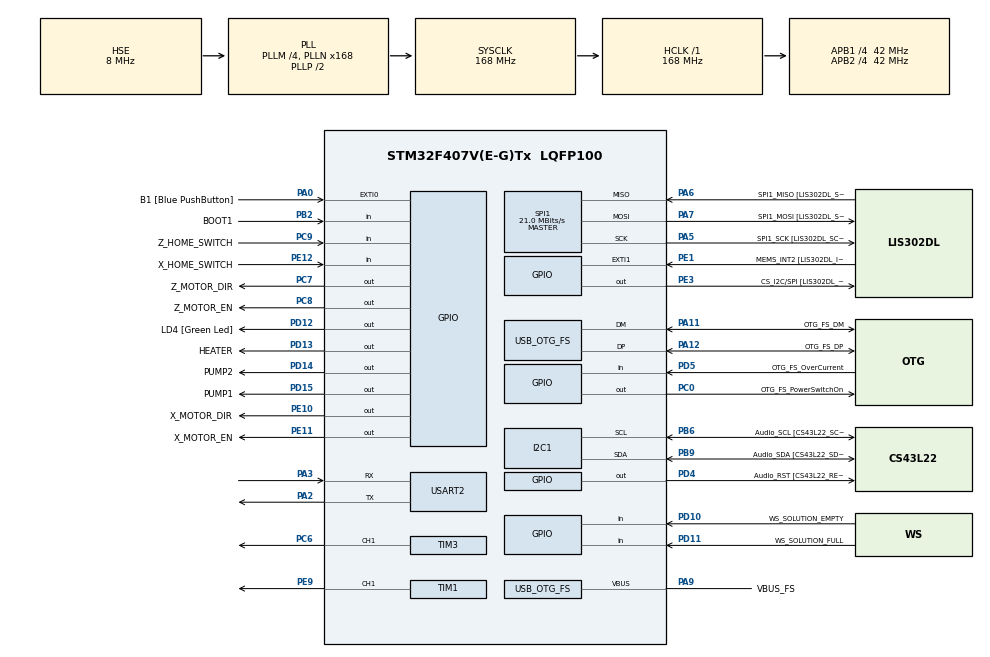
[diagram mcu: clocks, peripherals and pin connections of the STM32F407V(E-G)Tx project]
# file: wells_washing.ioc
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Dma.Request0=USART2_TX
Dma.Request1=USART2_RX
Dma.Request2=TIM1_CH1
Dma.TIM1_CH1.2.Direction=DMA_PERIPH_TO_MEMORY
Dma.TIM1_CH1.2.FIFOMode=DMA_FIFOMODE_DISABLE
Dma.TIM1_CH1.2.Instance=DMA2_Stream1
Dma.TIM1_CH1.2.MemDataAlignment=DMA_MDATAALIGN_HALFWORD
Dma.TIM1_CH1.2.MemInc=DMA_MINC_ENABLE
Dma.TIM1_CH1.2.Mode=DMA_NORMAL
Dma.TIM1_CH1.2.PeriphDataAlignment=DMA_PDATAALIGN_HALFWORD
Dma.TIM1_CH1.2.PeriphInc=DMA_PINC_DISABLE
Dma.TIM1_CH1.2.Priority=DMA_PRIORITY_LOW
Dma.USART2_RX.1.Direction=DMA_PERIPH_TO_MEMORY
Dma.USART2_RX.1.FIFOMode=DMA_FIFOMODE_DISABLE
Dma.USART2_RX.1.Instance=DMA1_Stream5
Dma.USART2_RX.1.MemDataAlignment=DMA_MDATAALIGN_BYTE
Dma.USART2_RX.1.MemInc=DMA_MINC_ENABLE
Dma.USART2_RX.1.Mode=DMA_NORMAL
Dma.USART2_RX.1.PeriphDataAlignment=DMA_PDATAALIGN_BYTE
Dma.USART2_RX.1.PeriphInc=DMA_PINC_DISABLE
Dma.USART2_RX.1.Priority=DMA_PRIORITY_LOW
Dma.USART2_TX.0.Direction=DMA_MEMORY_TO_PERIPH
Dma.USART2_TX.0.FIFOMode=DMA_FIFOMODE_DISABLE
Dma.USART2_TX.0.Instance=DMA1_Stream6
Dma.USART2_TX.0.MemDataAlignment=DMA_MDATAALIGN_BYTE
Dma.USART2_TX.0.MemInc=DMA_MINC_ENABLE
Dma.USART2_TX.0.Mode=DMA_NORMAL
Dma.USART2_TX.0.PeriphDataAlignment=DMA_PDATAALIGN_BYTE
Dma.USART2_TX.0.PeriphInc=DMA_PINC_DISABLE
Dma.USART2_TX.0.Priority=DMA_PRIORITY_LOW
Mcu.Family=STM32F4
Mcu.Name=STM32F407V(E-G)Tx
Mcu.Package=LQFP100
NVIC.DMA1_Stream5_IRQn=true\:0\:0\:false\:false\:true\:false\:true\:true
NVIC.DMA1_Stream6_IRQn=true\:0\:0\:false\:false\:true\:false\:true\:true
NVIC.DMA2_Stream1_IRQn=true\:0\:0\:false\:false\:true\:false\:true\:true
NVIC.OTG_FS_IRQn=true\:0\:0\:false\:false\:true\:true\:true\:true
NVIC.PriorityGroup=NVIC_PRIORITYGROUP_0
NVIC.TIM2_IRQn=true\:0\:0\:false\:false\:true\:true\:true\:true
NVIC.TIM5_IRQn=true\:0\:0\:false\:false\:true\:true\:true\:true
NVIC.USART2_IRQn=true\:0\:0\:false\:false\:true\:true\:true\:true
PA0-WKUP.GPIO_Label=B1 [Blue PushButton]
PA0-WKUP.GPIO_ModeDefaultEXTI=GPIO_MODE_EVT_RISING
PA0-WKUP.GPIO_PuPd=GPIO_NOPULL
PA0-WKUP.Signal=GPXTI0
PA10.GPIO_Label=OTG_FS_ID
PA10.GPIO_Mode=GPIO_MODE_AF_PP
PA10.GPIO_PuPd=GPIO_NOPULL
PA10.GPIO_Speed=GPIO_SPEED_FREQ_LOW
PA10.Signal=USB_OTG_FS_ID
PA11.GPIO_Label=OTG_FS_DM
PA11.GPIO_Mode=GPIO_MODE_AF_PP
PA11.GPIO_PuPd=GPIO_NOPULL
PA11.GPIO_Speed=GPIO_SPEED_FREQ_LOW
PA11.Mode=Device_Only
PA11.Signal=USB_OTG_FS_DM
PA12.GPIO_Label=OTG_FS_DP
PA12.GPIO_Mode=GPIO_MODE_AF_PP
PA12.GPIO_PuPd=GPIO_NOPULL
PA12.GPIO_Speed=GPIO_SPEED_FREQ_LOW
PA12.Mode=Device_Only
PA12.Signal=USB_OTG_FS_DP
PA13.GPIO_Label=SWDIO
PA13.Mode=Serial_Wire
PA13.Signal=SYS_JTMS-SWDIO
PA14.GPIO_Label=SWCLK
PA14.Mode=Serial_Wire
PA14.Signal=SYS_JTCK-SWCLK
PA2.GPIO_PuPd=GPIO_PULLUP
PA2.Mode=Asynchronous
PA2.Signal=USART2_TX
PA3.GPIO_PuPd=GPIO_PULLUP
PA3.Mode=Asynchronous
PA3.Signal=USART2_RX
PA4.GPIO_Label=I2S3_WS [CS43L22_LRCK]
PA4.GPIO_Mode=GPIO_MODE_AF_PP
PA4.GPIO_PuPd=GPIO_NOPULL
PA4.GPIO_Speed=GPIO_SPEED_FREQ_LOW
PA4.Signal=I2S3_WS
PA5.GPIO_Label=SPI1_SCK [LIS302DL_SCL/SPC]
PA5.GPIO_Mode=GPIO_MODE_AF_PP
PA5.GPIO_PuPd=GPIO_NOPULL
PA5.GPIO_Speed=GPIO_SPEED_FREQ_LOW
PA5.Mode=Full_Duplex_Master
PA5.Signal=SPI1_SCK
PA6.GPIO_Label=SPI1_MISO [LIS302DL_SDO]
PA6.GPIO_Mode=GPIO_MODE_AF_PP
PA6.GPIO_PuPd=GPIO_NOPULL
PA6.GPIO_Speed=GPIO_SPEED_FREQ_LOW
PA6.Mode=Full_Duplex_Master
PA6.Signal=SPI1_MISO
PA7.GPIO_Label=SPI1_MOSI [LIS302DL_SDA/SDI/SDO]
PA7.GPIO_Mode=GPIO_MODE_AF_PP
PA7.GPIO_PuPd=GPIO_NOPULL
PA7.GPIO_Speed=GPIO_SPEED_FREQ_LOW
PA7.Mode=Full_Duplex_Master
PA7.Signal=SPI1_MOSI
PA9.GPIO_Label=VBUS_FS
PA9.GPIO_Mode=GPIO_MODE_INPUT
PA9.GPIO_PuPd=GPIO_NOPULL
PA9.Mode=Activate_VBUS
PA9.Signal=USB_OTG_FS_VBUS
PB10.GPIO_Label=CLK_IN [MP45DT02_CLK]
PB10.GPIO_Mode=GPIO_MODE_AF_PP
PB10.GPIO_PuPd=GPIO_NOPULL
PB10.GPIO_Speed=GPIO_SPEED_FREQ_LOW
PB10.Signal=I2S2_CK
PB2.GPIO_Label=BOOT1
PB2.GPIO_Mode=GPIO_MODE_INPUT
PB2.GPIO_PuPd=GPIO_NOPULL
PB2.Signal=GPIO_Input
PB3.GPIO_Label=SWO
PB3.Signal=SYS_JTDO-SWO
PB6.GPIO_Label=Audio_SCL [CS43L22_SCL]
PB6.GPIO_Mode=GPIO_MODE_AF_OD
PB6.GPIO_Pu=GPIO_PULLUP
PB6.GPIO_PuPd=GPIO_NOPULL
PB6.GPIO_Speed=GPIO_SPEED_FREQ_LOW
PB6.Mode=I2C
PB6.Signal=I2C1_SCL
PB9.GPIO_Label=Audio_SDA [CS43L22_SDA]
PB9.GPIO_Mode=GPIO_MODE_AF_OD
PB9.GPIO_Pu=GPIO_PULLUP
PB9.GPIO_PuPd=GPIO_NOPULL
PB9.GPIO_Speed=GPIO_SPEED_FREQ_LOW
PB9.Mode=I2C
PB9.Signal=I2C1_SDA
PC0.GPIO_Label=OTG_FS_PowerSwitchOn
PC0.GPIO_PuPd=GPIO_NOPULL
PC0.GPIO_Speed=GPIO_SPEED_FREQ_LOW
PC0.PinState=GPIO_PIN_SET
PC0.Signal=GPIO_Output
PC10.GPIO_Label=I2S3_SCK [CS43L22_SCLK]
PC10.GPIO_Mode=GPIO_MODE_AF_PP
PC10.GPIO_PuPd=GPIO_NOPULL
PC10.GPIO_Speed=GPIO_SPEED_FREQ_LOW
PC10.Signal=I2S3_CK
PC12.GPIO_Label=I2S3_SD [CS43L22_SDIN]
PC12.GPIO_Mode=GPIO_MODE_AF_PP
PC12.GPIO_PuPd=GPIO_NOPULL
PC12.GPIO_Speed=GPIO_SPEED_FREQ_LOW
PC12.Signal=I2S3_SD
PC14-OSC32_IN.GPIO_Label=PC14-OSC32_IN
PC14-OSC32_IN.Mode=LSE-External-Oscillator
PC14-OSC32_IN.Signal=RCC_OSC32_IN
PC15-OSC32_OUT.GPIO_Label=PC15-OSC32_OUT
PC15-OSC32_OUT.Mode=LSE-External-Oscillator
PC15-OSC32_OUT.Signal=RCC_OSC32_OUT
PC3.GPIO_Label=PDM_OUT [MP45DT02_DOUT]
PC3.GPIO_Mode=GPIO_MODE_AF_PP
PC3.GPIO_PuPd=GPIO_NOPULL
PC3.GPIO_Speed=GPIO_SPEED_FREQ_LOW
PC3.Signal=I2S2_SD
PC6.GPIO_PuPd=GPIO_PULLUP
PC6.Signal=S_TIM3_CH1
PC7.GPIO_Label=Z_MOTOR_DIR
PC7.Signal=GPIO_Output
PC8.GPIO_Label=Z_MOTOR_EN
PC8.Signal=GPIO_Output
PC9.GPIO_Label=Z_HOME_SWITCH
PC9.GPIO_PuPd=GPIO_PULLUP
PC9.Signal=GPIO_Input
PD10.GPIO_Label=WS_SOLUTION_EMPTY
PD10.Signal=GPIO_Input
PD11.GPIO_Label=WS_SOLUTION_FULL
PD11.Signal=GPIO_Input
PD12.GPIO_Label=LD4 [Green Led]
PD12.GPIO_PuPd=GPIO_NOPULL
PD12.GPIO_Speed=GPIO_SPEED_FREQ_LOW
PD12.Signal=GPIO_Output
PD13.GPIO_Label=HEATER
PD13.GPIO_PuPd=GPIO_NOPULL
PD13.GPIO_Speed=GPIO_SPEED_FREQ_LOW
PD13.Signal=GPIO_Output
PD14.GPIO_Label=PUMP2
PD14.GPIO_PuPd=GPIO_NOPULL
PD14.GPIO_Speed=GPIO_SPEED_FREQ_LOW
PD14.Signal=GPIO_Output
PD15.GPIO_Label=PUMP1
PD15.GPIO_PuPd=GPIO_NOPULL
PD15.GPIO_Speed=GPIO_SPEED_FREQ_LOW
PD15.Signal=GPIO_Output
PD4.GPIO_Label=Audio_RST [CS43L22_RESET]
PD4.GPIO_PuPd=GPIO_NOPULL
PD4.GPIO_Speed=GPIO_SPEED_FREQ_LOW
PD4.Signal=GPIO_Output
PD5.GPIO_Label=OTG_FS_OverCurrent
PD5.GPIO_Mode=GPIO_MODE_INPUT
PD5.GPIO_PuPd=GPIO_NOPULL
PD5.Signal=GPIO_Input
PE1.GPIO_Label=MEMS_INT2 [LIS302DL_INT2]
PE1.GPIO_ModeDefaultEXTI=GPIO_MODE_EVT_RISING
PE1.GPIO_PuPd=GPIO_NOPULL
PE1.Signal=GPXTI1
PE10.GPIO_Label=X_MOTOR_DIR
PE10.Signal=GPIO_Output
PE11.GPIO_Label=X_MOTOR_EN
PE11.Signal=GPIO_Output
PE12.GPIO_Label=X_HOME_SWITCH
PE12.GPIO_PuPd=GPIO_PULLUP
PE12.Signal=GPIO_Input
PE3.GPIO_Label=CS_I2C/SPI [LIS302DL_CS_I2C/SPI]
PE3.GPIO_PuPd=GPIO_NOPULL
PE3.GPIO_Speed=GPIO_SPEED_FREQ_LOW
PE3.Signal=GPIO_Output
PE9.GPIO_PuPd=GPIO_PULLUP
PE9.GPIO_Speed=GPIO_SPEED_FREQ_VERY_HIGH
PE9.Signal=S_TIM1_CH1
PH0-OSC_IN.GPIO_Label=PH0-OSC_IN
PH0-OSC_IN.Mode=HSE-External-Oscillator
PH0-OSC_IN.Signal=RCC_OSC_IN
PH1-OSC_OUT.GPIO_Label=PH1-OSC_OUT
PH1-OSC_OUT.Mode=HSE-External-Oscillator
PH1-OSC_OUT.Signal=RCC_OSC_OUT
ProjectManager.HeapSize=0x4000
ProjectManager.StackSize=0x8000
ProjectManager.TargetToolchain=STM32CubeIDE
RCC.48MHZClocksFreq_Value=48000000
RCC.AHBFreq_Value=168000000
RCC.APB1CLKDivider=RCC_HCLK_DIV4
RCC.APB1Freq_Value=42000000
RCC.APB1TimFreq_Value=84000000
RCC.APB2CLKDivider=RCC_HCLK_DIV4
RCC.APB2Freq_Value=42000000
RCC.APB2TimFreq_Value=84000000
RCC.CortexFreq_Value=168000000
RCC.HCLKFreq_Value=168000000
RCC.HSE_VALUE=8000000
RCC.HSI_VALUE=16000000
RCC.PLLI2SN=50
RCC.PLLM=4
RCC.PLLN=168
RCC.PLLQ=7
RCC.SYSCLKFreq_VALUE=168000000
RCC.SYSCLKSource=RCC_SYSCLKSOURCE_PLLCLK
RCC.VCOOutputFreq_Value=336000000
SH.S_TIM1_CH1.0=TIM1_CH1,PWM Generation1 CH1
SH.S_TIM3_CH1.0=TIM3_CH1,PWM Generation1 CH1
SPI1.BaudRatePrescaler-Full_Duplex_Master=SPI_BAUDRATEPRESCALER_2
SPI1.CalculateBaudRate=21.0 MBits/s
SPI1.CalculateBaudRate-Full_Duplex_Master=42.0 MBits/s
SPI1.Direction=SPI_DIRECTION_2LINES
SPI1.Mode=SPI_MODE_MASTER
SPI1.Mode-Full_Duplex_Master=SPI_MODE_MASTER
SPI1.VirtualType=VM_MASTER
TIM1.Channel-PWM\ Generation1\ CH1=TIM_CHANNEL_1
TIM1.Period=999
TIM1.Prescaler=20
TIM1.Pulse-PWM\ Generation1\ CH1=499
TIM1.RepetitionCounter=199
TIM1.TIM_MasterOutputTrigger=TIM_TRGO_OC1REF
TIM1.TIM_MasterSlaveMode=TIM_MASTERSLAVEMODE_DISABLE
TIM3.Channel-PWM\ Generation1\ CH1=TIM_CHANNEL_1
TIM3.Period=999
TIM3.Prescaler=20
TIM3.Pulse-PWM\ Generation1\ CH1=499
TIM3.TIM_MasterOutputTrigger=TIM_TRGO_OC1REF
TIM8.Channel-PWM\ Generation3\ CH3=TIM_CHANNEL_3
USART2.VirtualMode=VM_ASYNC
USB_DEVICE.CLASS_NAME_FS=CDC
USB_DEVICE.VirtualMode-CDC_FS=Cdc
USB_DEVICE.VirtualModeFS=Cdc_FS
USB_OTG_FS.VirtualMode=Device_Only
VP_TIM1_VS_ClockSourceINT.Mode=Internal
VP_TIM2_VS_ClockSourceITR.Mode=TriggerSource_ITR0
VP_TIM2_VS_ControllerModeClock.Mode=Clock Mode
VP_TIM3_VS_ClockSourceINT.Mode=Internal
VP_TIM5_VS_ClockSourceITR.Mode=TriggerSource_ITR1
VP_TIM5_VS_ControllerModeClock.Mode=Clock Mode
VP_TIM8_VS_OPM.Mode=OPM_bit
VP_USB_DEVICE_VS_USB_DEVICE_CDC_FS.Mode=CDC_FS
board=STM32F407G-DISC1

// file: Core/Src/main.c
/* USER CODE BEGIN Header */
/**
  ******************************************************************************
  * @file           : main.c
  * @brief          : Main program body
  ******************************************************************************
  * @attention
  *
  * Copyright (c) 2023 STMicroelectronics.
  * All rights reserved.
  *
  * This software is licensed under terms that can be found in the LICENSE file
  * in the root directory of this software component.
  * If no LICENSE file comes with this software, it is provided AS-IS.
  *
  ******************************************************************************
  */
/* USER CODE END Header */
#include "main.h"
#include "usb_device.h"

/* USER CODE BEGIN Includes */
#include "define.h"
#include "data.h"
#include "uart.h"
#include "dw_display.h"
#include "motor.h"
#include  "usbd_cdc_if.h"
#include "program_process.h"
/* USER CODE END Includes */

I2C_HandleTypeDef hi2c1;

SPI_HandleTypeDef hspi1;

TIM_HandleTypeDef htim1;
TIM_HandleTypeDef htim2;
TIM_HandleTypeDef htim3;
TIM_HandleTypeDef htim5;
TIM_HandleTypeDef htim8;
DMA_HandleTypeDef hdma_tim1_ch1;

UART_HandleTypeDef huart2;
DMA_HandleTypeDef hdma_usart2_tx;
DMA_HandleTypeDef hdma_usart2_rx;

void SystemClock_Config(void);
static void MX_GPIO_Init(void);
static void MX_DMA_Init(void);
static void MX_I2C1_Init(void);
static void MX_SPI1_Init(void);
static void MX_USART2_UART_Init(void);
static void MX_TIM1_Init(void);
static void MX_TIM3_Init(void);
static void MX_TIM8_Init(void);
static void MX_TIM2_Init(void);
static void MX_TIM5_Init(void);
/* USER CODE BEGIN PFP */

typedef struct
{
	uint8_t size;
	uint8_t data[100];
}_debug_frame;
#define LOG_FRAME 100
_debug_frame debuglog[LOG_FRAME];
uint8_t debug_cnt = 0;
static uint8_t out_index = 0;
static uint8_t in_index = 0;
volatile uint8_t usb_transmitdone = 1;
void debug_process()
{

	if(debug_cnt && usb_transmitdone)
	{
		usb_transmitdone = 0;
		if(CDC_Transmit_FS(debuglog[out_index].data,debuglog[out_index].size)==USBD_OK)
		{
			out_index++;
			if(out_index == LOG_FRAME)
				out_index =0;
			debug_cnt--;
		}
	}
}

/* USER CODE END PFP */

/* USER CODE BEGIN 0 */
int _write(int file, char *ptr, int len)
{

	debuglog[in_index].size = len;
	memcpy(debuglog[in_index].data,ptr,len);
	debug_cnt++;
	if(debug_cnt>LOG_FRAME)
	{
		debug_cnt = LOG_FRAME;
	}
	in_index++;
	if(in_index == LOG_FRAME)
		in_index =0;
	return len;
}
uint8_t usercommand =0;
uint8_t times =0;
uint16_t cnt =0;
void HAL_TIM_PWM_PulseFinishedCallback(TIM_HandleTypeDef *htim)
{
	if(htim->Instance == htim1.Instance)
	{
		cnt++;
	}
}
void HAL_TIM_TriggerHalfCpltCallback(TIM_HandleTypeDef *htim)
{
	if(htim->Instance == htim1.Instance)
	{
		cnt++;
	}
}
/* USER CODE END 0 */

int main(void)
{

  /* MCU Configuration--------------------------------------------------------*/

  /* Reset of all peripherals, Initializes the Flash interface and the Systick. */
  HAL_Init();

  /* Configure the system clock */
  SystemClock_Config();

  /* Initialize all configured peripherals */
  MX_GPIO_Init();
  MX_DMA_Init();
  MX_I2C1_Init();
  MX_SPI1_Init();
  MX_USART2_UART_Init();
  MX_USB_DEVICE_Init();
  MX_TIM1_Init();
  MX_TIM3_Init();
  MX_TIM8_Init();
  MX_TIM2_Init();
  MX_TIM5_Init();
  /* USER CODE BEGIN 2 */
//  HAL_FLASH_Unlock();
//  __HAL_FLASH_CLEAR_FLAG(FLASH_FLAG_EOP | FLASH_FLAG_OPERR | FLASH_FLAG_WRPERR | FLASH_FLAG_PGAERR | FLASH_FLAG_PGSERR );
//  FLASH_Erase_Sector(FLASH_SECTOR_7, VOLTAGE_RANGE_3);
//  HAL_FLASH_Program(TYPEPROGRAM_WORD,0x08060000, 0x11223344);
//  HAL_FLASH_Lock();
  Dwin_init();
  dt_system_data_init();

//  HAL_TIM_Base_Start(&htim3);
  x_step_mt_int();
  z_step_mt_int();
#if !SIMULATOR_MOD
  z_motor_boot_start();
  x_motor_boot_start();
#else
  x_motor.home_achieve = 1;
  x_motor.is_home = 1;
  z_motor.home_achieve = 1;
  z_motor.is_home = 1;
#endif
  printf("code started \n");
  HAL_Delay(100);
  uart_dma_start();
  dwin_log_visiable(0);

  /* USER CODE END 2 */

  /* Infinite loop */
  /* USER CODE BEGIN WHILE */
  usercommand =1;
//    uint32_t ti;
  while (1)
  {
#if SIMULATOR_MOD    //enter download HMI FW
	  if(HAL_GPIO_ReadPin(B1_GPIO_Port, B1_Pin))
	  {
		  while(1){
			  HAL_GPIO_TogglePin(LD4_GPIO_Port, LD4_Pin);
			  HAL_Delay(50);
		  }
	  }
#endif
	  dwin_log_timeout();
	  debug_process();
//	  if(HAL_GetTick()> ti)
//	  {
//			char tmp[100];
//			int len = sprintf(tmp,"CURRENT_TIME :%lu",HAL_GetTick());
//			dwin_log_text(LOG_INFOR,tmp,len, 1000);
//			ti = HAL_GetTick() +2000;
//	  }
//	  step_shake_process();
	  pg_process_loop();
	  uart_process();
	  x_step_motor_process();
	  dw_update_steper_positon();
	  z_step_motor_process();
	  dw_update_steper_positon();
//	  switch (usercommand) {
//		case 1:
////			step_shake_start();
//			usercommand = 0;
//			break;
//		case 2:
//			HAL_TIM_PWM_Start(&htim3, TIM_CHANNEL_1);
//			usercommand = 0;
//			break;
//		case 3:
//			HAL_TIM_PWM_Stop(&htim3, TIM_CHANNEL_1);
//			usercommand = 0;
//			break;
//		case 4:
//			HAL_GPIO_TogglePin(Z_MOTOR_EN_GPIO_Port, Z_MOTOR_EN_Pin);
//			usercommand = 0;
//			break;
//		case 5:
//			HAL_TIM_PWM_Stop_IT(&htim1, TIM_CHANNEL_1);
//			usercommand = 0;
//			break;
//		default:
//			break;
//	}
    /* USER CODE END WHILE */

  }
}

void SystemClock_Config(void)
{
  RCC_OscInitTypeDef RCC_OscInitStruct = {0};
  RCC_ClkInitTypeDef RCC_ClkInitStruct = {0};

  /** Configure the main internal regulator output voltage
  */
  __HAL_RCC_PWR_CLK_ENABLE();
  __HAL_PWR_VOLTAGESCALING_CONFIG(PWR_REGULATOR_VOLTAGE_SCALE1);

  /** Initializes the RCC Oscillators according to the specified parameters
  * in the RCC_OscInitTypeDef structure.
  */
  RCC_OscInitStruct.OscillatorType = RCC_OSCILLATORTYPE_HSE;
  RCC_OscInitStruct.HSEState = RCC_HSE_ON;
  RCC_OscInitStruct.PLL.PLLState = RCC_PLL_ON;
  RCC_OscInitStruct.PLL.PLLSource = RCC_PLLSOURCE_HSE;
  RCC_OscInitStruct.PLL.PLLM = 4;
  RCC_OscInitStruct.PLL.PLLN = 168;
  RCC_OscInitStruct.PLL.PLLP = RCC_PLLP_DIV2;
  RCC_OscInitStruct.PLL.PLLQ = 7;
  if (HAL_RCC_OscConfig(&RCC_OscInitStruct) != HAL_OK)
  {
    Error_Handler();
  }

  /** Initializes the CPU, AHB and APB buses clocks
  */
  RCC_ClkInitStruct.ClockType = RCC_CLOCKTYPE_HCLK|RCC_CLOCKTYPE_SYSCLK
                              |RCC_CLOCKTYPE_PCLK1|RCC_CLOCKTYPE_PCLK2;
  RCC_ClkInitStruct.SYSCLKSource = RCC_SYSCLKSOURCE_PLLCLK;
  RCC_ClkInitStruct.AHBCLKDivider = RCC_SYSCLK_DIV1;
  RCC_ClkInitStruct.APB1CLKDivider = RCC_HCLK_DIV4;
  RCC_ClkInitStruct.APB2CLKDivider = RCC_HCLK_DIV4;

  if (HAL_RCC_ClockConfig(&RCC_ClkInitStruct, FLASH_LATENCY_5) != HAL_OK)
  {
    Error_Handler();
  }
}

static void MX_I2C1_Init(void)
{

  hi2c1.Instance = I2C1;
  hi2c1.Init.ClockSpeed = 100000;
  hi2c1.Init.DutyCycle = I2C_DUTYCYCLE_2;
  hi2c1.Init.OwnAddress1 = 0;
  hi2c1.Init.AddressingMode = I2C_ADDRESSINGMODE_7BIT;
  hi2c1.Init.DualAddressMode = I2C_DUALADDRESS_DISABLE;
  hi2c1.Init.OwnAddress2 = 0;
  hi2c1.Init.GeneralCallMode = I2C_GENERALCALL_DISABLE;
  hi2c1.Init.NoStretchMode = I2C_NOSTRETCH_DISABLE;
  if (HAL_I2C_Init(&hi2c1) != HAL_OK)
  {
    Error_Handler();
  }

}

static void MX_SPI1_Init(void)
{

  /* SPI1 parameter configuration*/
  hspi1.Instance = SPI1;
  hspi1.Init.Mode = SPI_MODE_MASTER;
  hspi1.Init.Direction = SPI_DIRECTION_2LINES;
  hspi1.Init.DataSize = SPI_DATASIZE_8BIT;
  hspi1.Init.CLKPolarity = SPI_POLARITY_LOW;
  hspi1.Init.CLKPhase = SPI_PHASE_1EDGE;
  hspi1.Init.NSS = SPI_NSS_SOFT;
  hspi1.Init.BaudRatePrescaler = SPI_BAUDRATEPRESCALER_2;
  hspi1.Init.FirstBit = SPI_FIRSTBIT_MSB;
  hspi1.Init.TIMode = SPI_TIMODE_DISABLE;
  hspi1.Init.CRCCalculation = SPI_CRCCALCULATION_DISABLE;
  hspi1.Init.CRCPolynomial = 10;
  if (HAL_SPI_Init(&hspi1) != HAL_OK)
  {
    Error_Handler();
  }

}

static void MX_TIM1_Init(void)
{

  TIM_ClockConfigTypeDef sClockSourceConfig = {0};
  TIM_MasterConfigTypeDef sMasterConfig = {0};
  TIM_OC_InitTypeDef sConfigOC = {0};
  TIM_BreakDeadTimeConfigTypeDef sBreakDeadTimeConfig = {0};

  htim1.Instance = TIM1;
  htim1.Init.Prescaler = 20;
  htim1.Init.CounterMode = TIM_COUNTERMODE_UP;
  htim1.Init.Period = 999;
  htim1.Init.ClockDivision = TIM_CLOCKDIVISION_DIV1;
  htim1.Init.RepetitionCounter = 199;
  htim1.Init.AutoReloadPreload = TIM_AUTORELOAD_PRELOAD_DISABLE;
  if (HAL_TIM_Base_Init(&htim1) != HAL_OK)
  {
    Error_Handler();
  }
  sClockSourceConfig.ClockSource = TIM_CLOCKSOURCE_INTERNAL;
  if (HAL_TIM_ConfigClockSource(&htim1, &sClockSourceConfig) != HAL_OK)
  {
    Error_Handler();
  }
  if (HAL_TIM_PWM_Init(&htim1) != HAL_OK)
  {
    Error_Handler();
  }
  sMasterConfig.MasterOutputTrigger = TIM_TRGO_OC1REF;
  sMasterConfig.MasterSlaveMode = TIM_MASTERSLAVEMODE_DISABLE;
  if (HAL_TIMEx_MasterConfigSynchronization(&htim1, &sMasterConfig) != HAL_OK)
  {
    Error_Handler();
  }
  sConfigOC.OCMode = TIM_OCMODE_PWM1;
  sConfigOC.Pulse = 499;
  sConfigOC.OCPolarity = TIM_OCPOLARITY_HIGH;
  sConfigOC.OCNPolarity = TIM_OCNPOLARITY_HIGH;
  sConfigOC.OCFastMode = TIM_OCFAST_DISABLE;
  sConfigOC.OCIdleState = TIM_OCIDLESTATE_RESET;
  sConfigOC.OCNIdleState = TIM_OCNIDLESTATE_RESET;
  if (HAL_TIM_PWM_ConfigChannel(&htim1, &sConfigOC, TIM_CHANNEL_1) != HAL_OK)
  {
    Error_Handler();
  }
  sBreakDeadTimeConfig.OffStateRunMode = TIM_OSSR_DISABLE;
  sBreakDeadTimeConfig.OffStateIDLEMode = TIM_OSSI_DISABLE;
  sBreakDeadTimeConfig.LockLevel = TIM_LOCKLEVEL_OFF;
  sBreakDeadTimeConfig.DeadTime = 0;
  sBreakDeadTimeConfig.BreakState = TIM_BREAK_DISABLE;
  sBreakDeadTimeConfig.BreakPolarity = TIM_BREAKPOLARITY_HIGH;
  sBreakDeadTimeConfig.AutomaticOutput = TIM_AUTOMATICOUTPUT_DISABLE;
  if (HAL_TIMEx_ConfigBreakDeadTime(&htim1, &sBreakDeadTimeConfig) != HAL_OK)
  {
    Error_Handler();
  }
  HAL_TIM_MspPostInit(&htim1);

}

static void MX_TIM2_Init(void)
{

  TIM_SlaveConfigTypeDef sSlaveConfig = {0};
  TIM_MasterConfigTypeDef sMasterConfig = {0};

  htim2.Instance = TIM2;
  htim2.Init.Prescaler = 0;
  htim2.Init.CounterMode = TIM_COUNTERMODE_UP;
  htim2.Init.Period = 4294967295;
  htim2.Init.ClockDivision = TIM_CLOCKDIVISION_DIV1;
  htim2.Init.AutoReloadPreload = TIM_AUTORELOAD_PRELOAD_DISABLE;
  if (HAL_TIM_Base_Init(&htim2) != HAL_OK)
  {
    Error_Handler();
  }
  sSlaveConfig.SlaveMode = TIM_SLAVEMODE_EXTERNAL1;
  sSlaveConfig.InputTrigger = TIM_TS_ITR0;
  if (HAL_TIM_SlaveConfigSynchro(&htim2, &sSlaveConfig) != HAL_OK)
  {
    Error_Handler();
  }
  sMasterConfig.MasterOutputTrigger = TIM_TRGO_RESET;
  sMasterConfig.MasterSlaveMode = TIM_MASTERSLAVEMODE_DISABLE;
  if (HAL_TIMEx_MasterConfigSynchronization(&htim2, &sMasterConfig) != HAL_OK)
  {
    Error_Handler();
  }

}

static void MX_TIM3_Init(void)
{

  TIM_ClockConfigTypeDef sClockSourceConfig = {0};
  TIM_MasterConfigTypeDef sMasterConfig = {0};
  TIM_OC_InitTypeDef sConfigOC = {0};

  htim3.Instance = TIM3;
  htim3.Init.Prescaler = 20;
  htim3.Init.CounterMode = TIM_COUNTERMODE_UP;
  htim3.Init.Period = 999;
  htim3.Init.ClockDivision = TIM_CLOCKDIVISION_DIV1;
  htim3.Init.AutoReloadPreload = TIM_AUTORELOAD_PRELOAD_DISABLE;
  if (HAL_TIM_Base_Init(&htim3) != HAL_OK)
  {
    Error_Handler();
  }
  sClockSourceConfig.ClockSource = TIM_CLOCKSOURCE_INTERNAL;
  if (HAL_TIM_ConfigClockSource(&htim3, &sClockSourceConfig) != HAL_OK)
  {
    Error_Handler();
  }
  if (HAL_TIM_PWM_Init(&htim3) != HAL_OK)
  {
    Error_Handler();
  }
  sMasterConfig.MasterOutputTrigger = TIM_TRGO_OC1REF;
  sMasterConfig.MasterSlaveMode = TIM_MASTERSLAVEMODE_DISABLE;
  if (HAL_TIMEx_MasterConfigSynchronization(&htim3, &sMasterConfig) != HAL_OK)
  {
    Error_Handler();
  }
  sConfigOC.OCMode = TIM_OCMODE_PWM1;
  sConfigOC.Pulse = 499;
  sConfigOC.OCPolarity = TIM_OCPOLARITY_HIGH;
  sConfigOC.OCFastMode = TIM_OCFAST_DISABLE;
  if (HAL_TIM_PWM_ConfigChannel(&htim3, &sConfigOC, TIM_CHANNEL_1) != HAL_OK)
  {
    Error_Handler();
  }
  HAL_TIM_MspPostInit(&htim3);

}

static void MX_TIM5_Init(void)
{

  TIM_SlaveConfigTypeDef sSlaveConfig = {0};
  TIM_MasterConfigTypeDef sMasterConfig = {0};

  htim5.Instance = TIM5;
  htim5.Init.Prescaler = 0;
  htim5.Init.CounterMode = TIM_COUNTERMODE_UP;
  htim5.Init.Period = 4294967295;
  htim5.Init.ClockDivision = TIM_CLOCKDIVISION_DIV1;
  htim5.Init.AutoReloadPreload = TIM_AUTORELOAD_PRELOAD_DISABLE;
  if (HAL_TIM_Base_Init(&htim5) != HAL_OK)
  {
    Error_Handler();
  }
  sSlaveConfig.SlaveMode = TIM_SLAVEMODE_EXTERNAL1;
  sSlaveConfig.InputTrigger = TIM_TS_ITR1;
  if (HAL_TIM_SlaveConfigSynchro(&htim5, &sSlaveConfig) != HAL_OK)
  {
    Error_Handler();
  }
  sMasterConfig.MasterOutputTrigger = TIM_TRGO_RESET;
  sMasterConfig.MasterSlaveMode = TIM_MASTERSLAVEMODE_DISABLE;
  if (HAL_TIMEx_MasterConfigSynchronization(&htim5, &sMasterConfig) != HAL_OK)
  {
    Error_Handler();
  }

}

static void MX_TIM8_Init(void)
{

  TIM_MasterConfigTypeDef sMasterConfig = {0};

  htim8.Instance = TIM8;
  htim8.Init.Prescaler = 0;
  htim8.Init.CounterMode = TIM_COUNTERMODE_UP;
  htim8.Init.Period = 65535;
  htim8.Init.ClockDivision = TIM_CLOCKDIVISION_DIV1;
  htim8.Init.RepetitionCounter = 0;
  htim8.Init.AutoReloadPreload = TIM_AUTORELOAD_PRELOAD_DISABLE;
  if (HAL_TIM_OnePulse_Init(&htim8, TIM_OPMODE_SINGLE) != HAL_OK)
  {
    Error_Handler();
  }
  sMasterConfig.MasterOutputTrigger = TIM_TRGO_RESET;
  sMasterConfig.MasterSlaveMode = TIM_MASTERSLAVEMODE_DISABLE;
  if (HAL_TIMEx_MasterConfigSynchronization(&htim8, &sMasterConfig) != HAL_OK)
  {
    Error_Handler();
  }

}

static void MX_USART2_UART_Init(void)
{

  huart2.Instance = USART2;
  huart2.Init.BaudRate = 115200;
  huart2.Init.WordLength = UART_WORDLENGTH_8B;
  huart2.Init.StopBits = UART_STOPBITS_1;
  huart2.Init.Parity = UART_PARITY_NONE;
  huart2.Init.Mode = UART_MODE_TX_RX;
  huart2.Init.HwFlowCtl = UART_HWCONTROL_NONE;
  huart2.Init.OverSampling = UART_OVERSAMPLING_16;
  if (HAL_UART_Init(&huart2) != HAL_OK)
  {
    Error_Handler();
  }

}

static void MX_DMA_Init(void)
{

  /* DMA controller clock enable */
  __HAL_RCC_DMA1_CLK_ENABLE();
  __HAL_RCC_DMA2_CLK_ENABLE();

  /* DMA interrupt init */
  /* DMA1_Stream5_IRQn interrupt configuration */
  HAL_NVIC_SetPriority(DMA1_Stream5_IRQn, 0, 0);
  HAL_NVIC_EnableIRQ(DMA1_Stream5_IRQn);
  /* DMA1_Stream6_IRQn interrupt configuration */
  HAL_NVIC_SetPriority(DMA1_Stream6_IRQn, 0, 0);
  HAL_NVIC_EnableIRQ(DMA1_Stream6_IRQn);
  /* DMA2_Stream1_IRQn interrupt configuration */
  HAL_NVIC_SetPriority(DMA2_Stream1_IRQn, 0, 0);
  HAL_NVIC_EnableIRQ(DMA2_Stream1_IRQn);

}

static void MX_GPIO_Init(void)
{
  GPIO_InitTypeDef GPIO_InitStruct = {0};

  /* GPIO Ports Clock Enable */
  __HAL_RCC_GPIOE_CLK_ENABLE();
  __HAL_RCC_GPIOC_CLK_ENABLE();
  __HAL_RCC_GPIOH_CLK_ENABLE();
  __HAL_RCC_GPIOA_CLK_ENABLE();
  __HAL_RCC_GPIOB_CLK_ENABLE();
  __HAL_RCC_GPIOD_CLK_ENABLE();

  /*Configure GPIO pin Output Level */
  HAL_GPIO_WritePin(GPIOE, CS_I2C_SPI_Pin|X_MOTOR_DIR_Pin|X_MOTOR_EN_Pin, GPIO_PIN_RESET);

  /*Configure GPIO pin Output Level */
  HAL_GPIO_WritePin(OTG_FS_PowerSwitchOn_GPIO_Port, OTG_FS_PowerSwitchOn_Pin, GPIO_PIN_SET);

  /*Configure GPIO pin Output Level */
  HAL_GPIO_WritePin(GPIOD, LD4_Pin|HEATER_Pin|PUMP2_Pin|PUMP1_Pin
                          |Audio_RST_Pin, GPIO_PIN_RESET);

  /*Configure GPIO pin Output Level */
  HAL_GPIO_WritePin(GPIOC, Z_MOTOR_DIR_Pin|Z_MOTOR_EN_Pin, GPIO_PIN_RESET);

  /*Configure GPIO pins : CS_I2C_SPI_Pin X_MOTOR_DIR_Pin X_MOTOR_EN_Pin */
  GPIO_InitStruct.Pin = CS_I2C_SPI_Pin|X_MOTOR_DIR_Pin|X_MOTOR_EN_Pin;
  GPIO_InitStruct.Mode = GPIO_MODE_OUTPUT_PP;
  GPIO_InitStruct.Pull = GPIO_NOPULL;
  GPIO_InitStruct.Speed = GPIO_SPEED_FREQ_LOW;
  HAL_GPIO_Init(GPIOE, &GPIO_InitStruct);

  /*Configure GPIO pins : OTG_FS_PowerSwitchOn_Pin Z_MOTOR_DIR_Pin Z_MOTOR_EN_Pin */
  GPIO_InitStruct.Pin = OTG_FS_PowerSwitchOn_Pin|Z_MOTOR_DIR_Pin|Z_MOTOR_EN_Pin;
  GPIO_InitStruct.Mode = GPIO_MODE_OUTPUT_PP;
  GPIO_InitStruct.Pull = GPIO_NOPULL;
  GPIO_InitStruct.Speed = GPIO_SPEED_FREQ_LOW;
  HAL_GPIO_Init(GPIOC, &GPIO_InitStruct);

  /*Configure GPIO pin : PDM_OUT_Pin */
  GPIO_InitStruct.Pin = PDM_OUT_Pin;
  GPIO_InitStruct.Mode = GPIO_MODE_AF_PP;
  GPIO_InitStruct.Pull = GPIO_NOPULL;
  GPIO_InitStruct.Speed = GPIO_SPEED_FREQ_LOW;
  GPIO_InitStruct.Alternate = GPIO_AF5_SPI2;
  HAL_GPIO_Init(PDM_OUT_GPIO_Port, &GPIO_InitStruct);

  /*Configure GPIO pin : B1_Pin */
  GPIO_InitStruct.Pin = B1_Pin;
  GPIO_InitStruct.Mode = GPIO_MODE_EVT_RISING;
  GPIO_InitStruct.Pull = GPIO_NOPULL;
  HAL_GPIO_Init(B1_GPIO_Port, &GPIO_InitStruct);

  /*Configure GPIO pin : I2S3_WS_Pin */
  GPIO_InitStruct.Pin = I2S3_WS_Pin;
  GPIO_InitStruct.Mode = GPIO_MODE_AF_PP;
  GPIO_InitStruct.Pull = GPIO_NOPULL;
  GPIO_InitStruct.Speed = GPIO_SPEED_FREQ_LOW;
  GPIO_InitStruct.Alternate = GPIO_AF6_SPI3;
  HAL_GPIO_Init(I2S3_WS_GPIO_Port, &GPIO_InitStruct);

  /*Configure GPIO pin : BOOT1_Pin */
  GPIO_InitStruct.Pin = BOOT1_Pin;
  GPIO_InitStruct.Mode = GPIO_MODE_INPUT;
  GPIO_InitStruct.Pull = GPIO_NOPULL;
  HAL_GPIO_Init(BOOT1_GPIO_Port, &GPIO_InitStruct);

  /*Configure GPIO pin : X_HOME_SWITCH_Pin */
  GPIO_InitStruct.Pin = X_HOME_SWITCH_Pin;
  GPIO_InitStruct.Mode = GPIO_MODE_INPUT;
  GPIO_InitStruct.Pull = GPIO_PULLUP;
  HAL_GPIO_Init(X_HOME_SWITCH_GPIO_Port, &GPIO_InitStruct);

  /*Configure GPIO pin : CLK_IN_Pin */
  GPIO_InitStruct.Pin = CLK_IN_Pin;
  GPIO_InitStruct.Mode = GPIO_MODE_AF_PP;
  GPIO_InitStruct.Pull = GPIO_NOPULL;
  GPIO_InitStruct.Speed = GPIO_SPEED_FREQ_LOW;
  GPIO_InitStruct.Alternate = GPIO_AF5_SPI2;
  HAL_GPIO_Init(CLK_IN_GPIO_Port, &GPIO_InitStruct);

  /*Configure GPIO pins : WS_SOLUTION_EMPTY_Pin WS_SOLUTION_FULL_Pin OTG_FS_OverCurrent_Pin */
  GPIO_InitStruct.Pin = WS_SOLUTION_EMPTY_Pin|WS_SOLUTION_FULL_Pin|OTG_FS_OverCurrent_Pin;
  GPIO_InitStruct.Mode = GPIO_MODE_INPUT;
  GPIO_InitStruct.Pull = GPIO_NOPULL;
  HAL_GPIO_Init(GPIOD, &GPIO_InitStruct);

  /*Configure GPIO pins : LD4_Pin HEATER_Pin PUMP2_Pin PUMP1_Pin
                           Audio_RST_Pin */
  GPIO_InitStruct.Pin = LD4_Pin|HEATER_Pin|PUMP2_Pin|PUMP1_Pin
                          |Audio_RST_Pin;
  GPIO_InitStruct.Mode = GPIO_MODE_OUTPUT_PP;
  GPIO_InitStruct.Pull = GPIO_NOPULL;
  GPIO_InitStruct.Speed = GPIO_SPEED_FREQ_LOW;
  HAL_GPIO_Init(GPIOD, &GPIO_InitStruct);

  /*Configure GPIO pin : Z_HOME_SWITCH_Pin */
  GPIO_InitStruct.Pin = Z_HOME_SWITCH_Pin;
  GPIO_InitStruct.Mode = GPIO_MODE_INPUT;
  GPIO_InitStruct.Pull = GPIO_PULLUP;
  HAL_GPIO_Init(Z_HOME_SWITCH_GPIO_Port, &GPIO_InitStruct);

  /*Configure GPIO pins : I2S3_SCK_Pin I2S3_SD_Pin */
  GPIO_InitStruct.Pin = I2S3_SCK_Pin|I2S3_SD_Pin;
  GPIO_InitStruct.Mode = GPIO_MODE_AF_PP;
  GPIO_InitStruct.Pull = GPIO_NOPULL;
  GPIO_InitStruct.Speed = GPIO_SPEED_FREQ_LOW;
  GPIO_InitStruct.Alternate = GPIO_AF6_SPI3;
  HAL_GPIO_Init(GPIOC, &GPIO_InitStruct);

  /*Configure GPIO pin : MEMS_INT2_Pin */
  GPIO_InitStruct.Pin = MEMS_INT2_Pin;
  GPIO_InitStruct.Mode = GPIO_MODE_EVT_RISING;
  GPIO_InitStruct.Pull = GPIO_NOPULL;
  HAL_GPIO_Init(MEMS_INT2_GPIO_Port, &GPIO_InitStruct);

}

void Error_Handler(void)
{
  __disable_irq();
  while (1)
  {
  }
}
